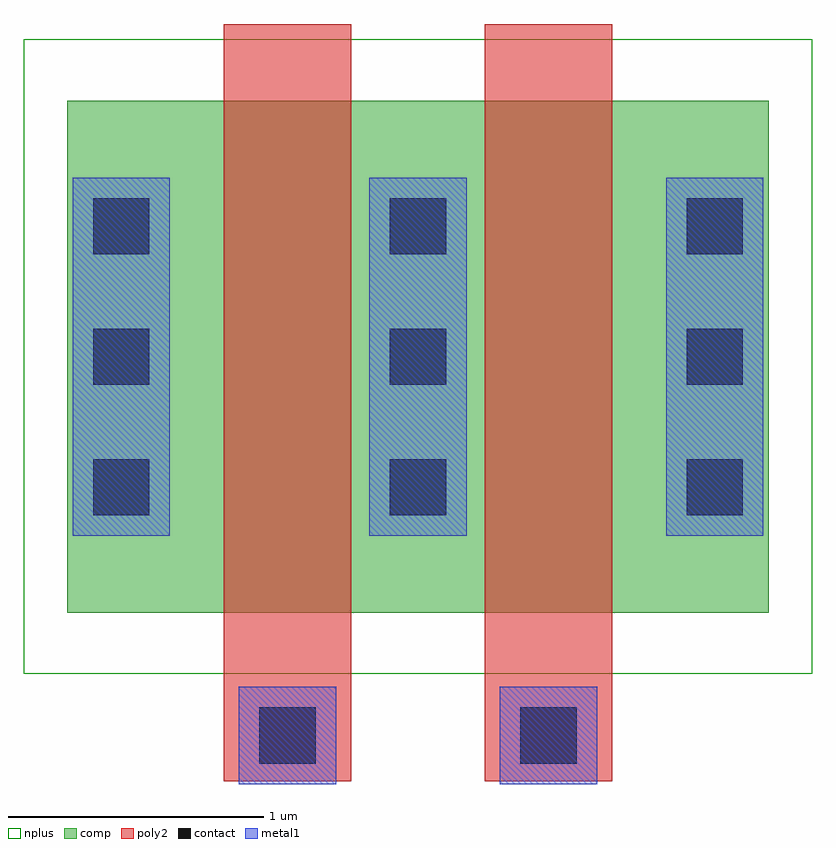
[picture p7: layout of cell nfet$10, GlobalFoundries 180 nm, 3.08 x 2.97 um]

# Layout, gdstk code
import gdstk
lib = gdstk.Library(unit=1e-6, precision=5e-09)
def R(c, l, rs):  # rectangles x0, y0, x1, y1
    for r in rs: c.add(gdstk.rectangle(r[:2], r[2:], *l))
def A(c, l, x, y, w, h, nx, ny, dx, dy):  # array of equal rectangles
    R(c, l, [(x+i*dx, y+j*dy, x+i*dx+w, y+j*dy+h) for i in range(nx) for j in range(ny)])
comp = (22, 0)
poly2 = (30, 0)
nplus = (32, 0)
contact = (33, 0)
metal1 = (34, 0)

nfet_10 = lib.new_cell('nfet$10')
R(nfet_10, comp, [(-0.42,0,0,2), (0,0,1.9,2), (1.9,0,2.32,2)])
R(nfet_10, poly2, [(0.19,-0.66,0.69,-0.3), (1.21,-0.66,1.71,-0.3), (0.19,-0.3,0.69,2.3), (1.21,-0.3,1.71,2.3)])
R(nfet_10, nplus, [(-0.59,-0.24,2.49,2.24)])
A(nfet_10, contact, -0.32, 0.38, 0.22, 0.22, 3, 3, 1.16, 0.51)
R(nfet_10, contact, [(0.33,-0.59,0.55,-0.37), (1.35,-0.59,1.57,-0.37)])
A(nfet_10, metal1, -0.4, 0.3, 0.38, 1.4, 3, 1, 1.16, 0)
R(nfet_10, metal1, [(0.25,-0.67,0.63,-0.29), (1.27,-0.67,1.65,-0.29)])

lib.write_gds('nfet_10.gds')
